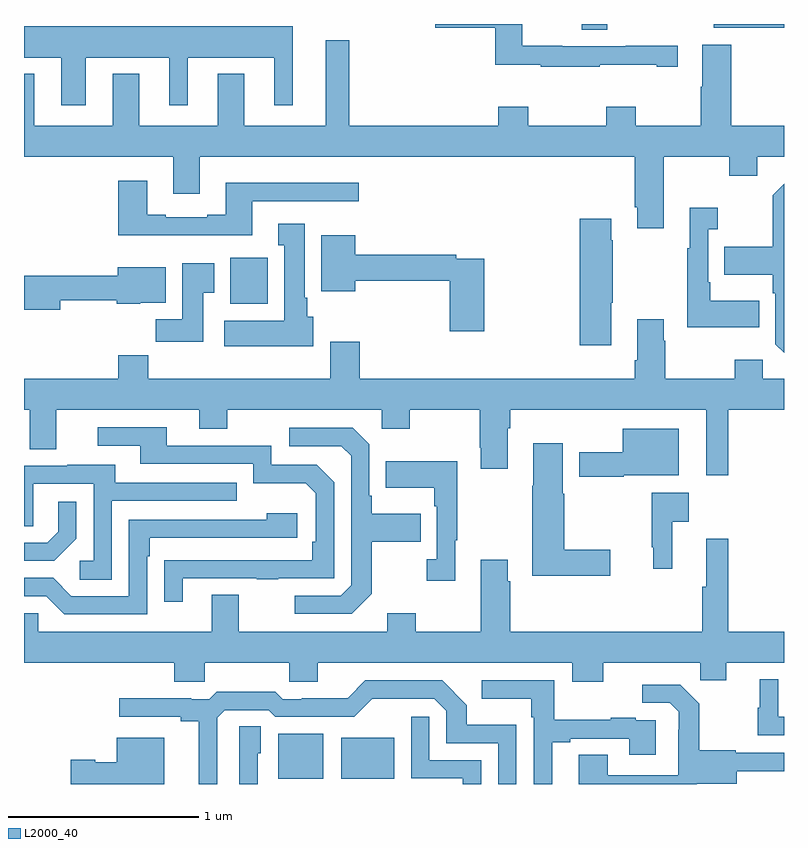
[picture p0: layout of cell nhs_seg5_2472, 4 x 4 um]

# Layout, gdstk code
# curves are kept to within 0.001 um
import gdstk
lib = gdstk.Library(unit=1e-6, precision=1e-09)
def R(c, l, rs):  # rectangles x0, y0, x1, y1
    for r in rs: c.add(gdstk.rectangle(r[:2], r[2:], *l))
def P(c, l, *ps):  # polygons
    for p in ps: c.add(gdstk.Polygon(p, *l))
L2000_40 = (2000, 40)

nhs_seg5_2472 = lib.new_cell('nhs_seg5_2472')
R(nhs_seg5_2472, L2000_40, [(256.337,846.827,256.576,847.063), (256.67,846.827,256.948,847.042), (256.085,849.326,256.282,849.568), (257.936,850.768,258.07,850.799), (258.63,850.78,259,850.799)])
P(nhs_seg5_2472, L2000_40, [(258.029,850.585),(258.329,850.585),(258.329,850.575),(258.442,850.575),(258.442,850.685),(258.166,850.685),(258.166,850.683),(257.832,850.683),(257.832,850.684),(257.622,850.684),(257.622,850.799),(257.164,850.799),(257.164,850.78),(257.48,850.78),(257.48,850.585),(257.719,850.585),(257.719,850.575),(258.029,850.575)],
  [(255.325,850.622),(255.764,850.622),(255.764,850.371),(255.862,850.371),(255.862,850.622),(256.316,850.622),(256.316,850.371),(256.414,850.371),(256.414,850.786),(255,850.786),(255,850.622),(255.197,850.622),(255.197,850.371),(255.325,850.371)],
  [(258.367,850.1),(258.712,850.1),(258.712,850.001),(258.859,850.001),(258.859,850.1),(259,850.1),(259,850.264),(258.722,850.264),(258.722,850.69),(258.569,850.69),(258.569,850.469),(258.562,850.469),(258.562,850.264),(258.219,850.264),(258.219,850.363),(258.064,850.363),(258.064,850.264),(257.654,850.264),(257.654,850.363),(257.495,850.363),(257.495,850.264),(256.711,850.264),(256.711,850.714),(256.589,850.714),(256.589,850.264),(256.159,850.264),(256.159,850.537),(256.019,850.537),(256.019,850.264),(255.607,850.264),(255.607,850.537),(255.467,850.537),(255.467,850.264),(255.055,850.264),(255.055,850.537),(255,850.537),(255,850.1),(255.785,850.1),(255.785,849.906),(255.925,849.906),(255.925,850.1),(258.215,850.1),(258.215,849.835),(258.227,849.835),(258.227,849.723),(258.367,849.723)],
  [(256.201,849.867),(256.762,849.867),(256.762,849.964),(256.061,849.964),(256.061,849.796),(255.965,849.796),(255.965,849.783),(255.745,849.783),(255.745,849.796),(255.649,849.796),(255.649,849.973),(255.497,849.973),(255.497,849.686),(256.201,849.686)],
  [(259,849.958),(258.942,849.899),(258.942,849.627),(258.685,849.627),(258.685,849.479),(258.942,849.479),(258.942,849.383),(258.954,849.383),(258.954,849.114),(259,849.068)],
  [(258.869,849.343),(258.613,849.343),(258.613,849.439),(258.6,849.439),(258.6,849.719),(258.652,849.719),(258.652,849.832),(258.503,849.832),(258.503,849.619),(258.492,849.619),(258.492,849.203),(258.869,849.203)],
  [(258.091,849.331),(258.099,849.331),(258.099,849.662),(258.091,849.662),(258.091,849.775),(257.924,849.775),(257.924,849.108),(258.091,849.108)],
  [(256.522,849.258),(256.492,849.258),(256.492,849.358),(256.477,849.358),(256.477,849.748),(256.337,849.748),(256.337,849.635),(256.37,849.635),(256.37,849.238),(256.053,849.238),(256.053,849.104),(256.522,849.104)],
  [(257.423,849.564),(257.276,849.564),(257.276,849.584),(256.744,849.584),(256.744,849.688),(256.565,849.688),(256.565,849.392),(256.744,849.392),(256.744,849.448),(257.24,849.448),(257.24,849.183),(257.423,849.183)],
  [(255.943,849.385),(256,849.385),(256,849.541),(255.833,849.541),(255.833,849.244),(255.694,849.244),(255.694,849.126),(255.943,849.126)],
  [(255.19,849.345),(255.487,849.345),(255.487,849.326),(255.612,849.326),(255.612,849.332),(255.745,849.332),(255.745,849.52),(255.494,849.52),(255.494,849.473),(255,849.473),(255,849.295),(255.19,849.295)],
  [(259,848.932),(258.888,848.932),(258.888,849.031),(258.742,849.031),(258.742,848.932),(258.375,848.932),(258.375,849.131),(258.367,849.131),(258.367,849.244),(258.227,849.244),(258.227,849.028),(258.215,849.028),(258.215,848.932),(256.766,848.932),(256.766,849.127),(256.613,849.127),(256.613,848.932),(255.653,848.932),(255.653,849.056),(255.497,849.056),(255.497,848.932),(255,848.932),(255,848.768),(255.029,848.768),(255.029,848.56),(255.169,848.56),(255.169,848.768),(255.923,848.768),(255.923,848.669),(256.071,848.669),(256.071,848.768),(256.884,848.768),(256.884,848.669),(257.031,848.669),(257.031,848.768),(257.398,848.768),(257.398,848.569),(257.405,848.569),(257.405,848.457),(257.545,848.457),(257.545,848.672),(257.558,848.672),(257.558,848.768),(258.59,848.768),(258.59,848.424),(258.707,848.424),(258.707,848.768),(259,848.768)],
  [(255.835,847.881),(256.225,847.881),(256.225,847.876),(256.337,847.876),(256.337,847.881),(256.632,847.881),(256.632,848.388),(256.542,848.478),(256.302,848.478),(256.302,848.58),(255.751,848.58),(255.751,848.676),(255.387,848.676),(255.387,848.58),(255.611,848.58),(255.611,848.484),(256.206,848.484),(256.206,848.381),(256.483,848.381),(256.536,848.328),(256.536,848.074),(256.516,848.074),(256.516,847.977),(255.739,847.976),(255.739,847.758),(255.835,847.758)],
  [(256.831,847.801),(256.831,848.074),(257.087,848.074),(257.087,848.221),(256.831,848.221),(256.831,848.317),(256.818,848.317),(256.818,848.586),(256.731,848.673),(256.395,848.673),(256.395,848.577),(256.671,848.577),(256.722,848.526),(256.722,847.845),(256.668,847.791),(256.425,847.791),(256.425,847.695),(256.725,847.695)],
  [(258.156,848.423),(258.445,848.423),(258.445,848.668),(258.152,848.668),(258.152,848.545),(257.922,848.545),(257.922,848.416),(258.156,848.416)],
  [(258.085,848.031),(257.844,848.031),(257.844,848.327),(257.836,848.327),(257.836,848.593),(257.681,848.593),(257.681,848.369),(257.674,848.369),(257.674,847.894),(258.085,847.894)],
  [(257.269,848.081),(257.281,848.081),(257.281,848.497),(256.903,848.497),(256.903,848.357),(257.16,848.357),(257.16,848.261),(257.172,848.261),(257.172,847.982),(257.121,847.982),(257.121,847.869),(257.269,847.869)],
  [(255.462,848.289),(256.121,848.289),(256.121,848.385),(255.481,848.385),(255.481,848.479),(255.227,848.479),(255.227,848.475),(255,848.475),(255,848.155),(255.048,848.155),(255.048,848.379),(255.366,848.379),(255.366,847.974),(255.294,847.974),(255.294,847.873),(255.462,847.873)],
  [(258.413,848.18),(258.499,848.18),(258.499,848.332),(258.303,848.332),(258.303,848.044),(258.313,848.044),(258.313,847.932),(258.413,847.932)],
  [(255.276,848.09),(255.276,848.284),(255.179,848.284),(255.179,848.127),(255.122,848.07),(255,848.07),(255,847.974),(255.16,847.974)],
  [(255.648,847.997),(255.661,847.997),(255.661,848.094),(256.438,848.094),(256.438,848.224),(256.277,848.224),(256.277,848.19),(255.552,848.19),(255.552,847.788),(255.249,847.788),(255.153,847.884),(255,847.884),(255,847.788),(255.117,847.788),(255.213,847.692),(255.648,847.692)],
  [(257.405,847.978),(257.405,847.6),(257.061,847.6),(257.061,847.699),(256.913,847.699),(256.913,847.6),(256.129,847.6),(256.129,847.795),(255.989,847.795),(255.989,847.6),(255.075,847.6),(255.075,847.698),(255,847.698),(255,847.436),(255.791,847.436),(255.791,847.338),(255.951,847.338),(255.951,847.436),(256.396,847.436),(256.396,847.338),(256.546,847.338),(256.546,847.436),(257.885,847.436),(257.885,847.337),(258.049,847.337),(258.049,847.436),(258.559,847.436),(258.559,847.346),(258.697,847.346),(258.697,847.436),(259,847.436),(259,847.6),(258.707,847.6),(258.707,848.089),(258.59,848.089),(258.59,847.836),(258.571,847.836),(258.571,847.6),(257.558,847.6),(257.558,847.865),(257.545,847.865),(257.545,847.978)],
  [(259,847.152),(258.97,847.152),(258.97,847.351),(258.872,847.351),(258.872,847.2),(258.861,847.2),(258.861,847.056),(259,847.056)],
  [(257.779,847.02),(257.875,847.02),(257.875,847.038),(258.185,847.038),(258.185,846.954),(258.325,846.954),(258.325,847.134),(258.221,847.134),(258.221,847.147),(258.089,847.147),(258.089,847.136),(257.791,847.136),(257.791,847.344),(257.409,847.344),(257.409,847.247),(257.67,847.247),(257.67,847.151),(257.682,847.151),(257.682,846.799),(257.779,846.799)],
  [(256.017,847.149),(256.056,847.188),(256.287,847.188),(256.323,847.152),(256.737,847.152),(256.832,847.247),(257.16,847.248),(257.223,847.185),(257.223,847.014),(257.496,847.014),(257.496,846.799),(257.592,846.799),(257.592,847.111),(257.331,847.111),(257.331,847.214),(257.2,847.344),(256.797,847.344),(256.703,847.25),(256.462,847.25),(256.462,847.245),(256.362,847.245),(256.323,847.285),(256.015,847.285),(255.975,847.245),(255.881,847.245),(255.881,847.25),(255.501,847.25),(255.501,847.152),(255.824,847.152),(255.824,847.13),(255.92,847.13),(255.92,846.799),(256.017,846.799)],
  [(258.54,846.8),(258.751,846.8),(258.751,846.867),(259,846.867),(259,846.963),(258.747,846.963),(258.747,846.976),(258.555,846.976),(258.555,847.221),(258.455,847.321),(258.255,847.321),(258.255,847.227),(258.399,847.227),(258.446,847.18),(258.446,847.085),(258.444,847.085),(258.444,846.844),(258.073,846.844),(258.073,846.953),(257.921,846.953),(257.921,846.799)],
  [(257.406,846.924),(257.133,846.924),(257.133,847.153),(257.037,847.153),(257.037,846.828),(257.31,846.828),(257.31,846.799),(257.406,846.799)],
  [(256.23,846.96),(256.246,846.96),(256.246,847.103),(256.134,847.103),(256.134,846.799),(256.23,846.799)],
  [(255.739,847.042),(255.488,847.042),(255.488,846.913),(255.375,846.913),(255.375,846.926),(255.246,846.926),(255.246,846.799),(255.739,846.799)])

lib.write_gds('nhs_seg5_2472.gds')
